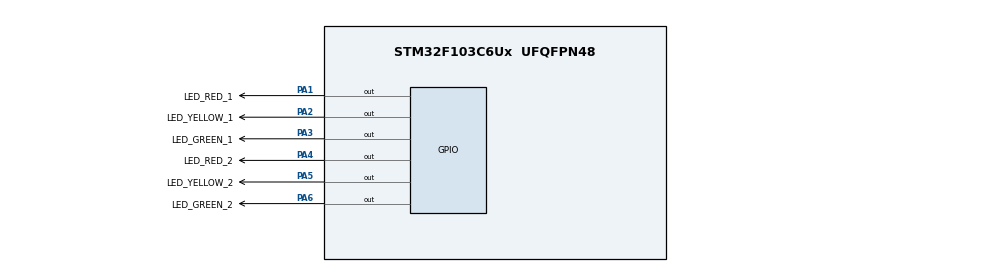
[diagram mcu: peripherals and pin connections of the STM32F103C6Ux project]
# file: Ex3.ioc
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Mcu.Family=STM32F1
Mcu.Name=STM32F103C6Ux
Mcu.Package=UFQFPN48
NVIC.PriorityGroup=NVIC_PRIORITYGROUP_4
PA1.GPIO_Label=LED_RED_1
PA1.Signal=GPIO_Output
PA2.GPIO_Label=LED_YELLOW_1
PA2.Signal=GPIO_Output
PA3.GPIO_Label=LED_GREEN_1
PA3.Signal=GPIO_Output
PA4.GPIO_Label=LED_RED_2
PA4.Signal=GPIO_Output
PA5.GPIO_Label=LED_YELLOW_2
PA5.Signal=GPIO_Output
PA6.GPIO_Label=LED_GREEN_2
PA6.Signal=GPIO_Output
ProjectManager.HeapSize=0x200
ProjectManager.StackSize=0x400
ProjectManager.TargetToolchain=STM32CubeIDE
RCC.APB1Freq_Value=8000000
RCC.APB2Freq_Value=8000000
VP_SYS_VS_ND.Mode=No_Debug
board=custom

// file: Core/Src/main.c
/* USER CODE BEGIN Header */
/**
  ******************************************************************************
  * @file           : main.c
  * @brief          : Main program body
  ******************************************************************************
  * @attention
  *
  * <h2><center>&copy; Copyright (c) 2025 STMicroelectronics.
  * All rights reserved.</center></h2>
  *
  * This software component is licensed by ST under BSD 3-Clause license,
  * the "License"; You may not use this file except in compliance with the
  * License. You may obtain a copy of the License at:
  *                        opensource.org/licenses/BSD-3-Clause
  *
  ******************************************************************************
  */
/* USER CODE END Header */
#include "main.h"

void SystemClock_Config(void);
static void MX_GPIO_Init(void);

int main(void)
{

  /* MCU Configuration--------------------------------------------------------*/

  /* Reset of all peripherals, Initializes the Flash interface and the Systick. */
  HAL_Init();

  /* Configure the system clock */
  SystemClock_Config();

  /* Initialize all configured peripherals */
  MX_GPIO_Init();

  /* Infinite loop */
  /* USER CODE BEGIN WHILE */
  while (1)
  {
	  //State 1: light 1 green -> red, light 2 red -> off
	  HAL_GPIO_WritePin(LED_GREEN_1_GPIO_Port, LED_GREEN_1_Pin, GPIO_PIN_RESET);
	  HAL_GPIO_WritePin(LED_RED_2_GPIO_Port, LED_RED_2_Pin, GPIO_PIN_SET);
	  HAL_GPIO_WritePin(LED_GREEN_2_GPIO_Port, LED_GREEN_2_Pin, GPIO_PIN_SET);
	  HAL_Delay(3000); //straight light turns from green to yellow
	  HAL_GPIO_WritePin(LED_GREEN_1_GPIO_Port, LED_GREEN_1_Pin, GPIO_PIN_SET);
	  HAL_GPIO_WritePin(LED_YELLOW_1_GPIO_Port, LED_YELLOW_1_Pin, GPIO_PIN_SET);
	  HAL_Delay(2000);
	  HAL_GPIO_WritePin(LED_YELLOW_1_GPIO_Port, LED_YELLOW_1_Pin, GPIO_PIN_RESET);
	  HAL_GPIO_WritePin(LED_RED_2_GPIO_Port, LED_RED_2_Pin, GPIO_PIN_RESET);
	  HAL_Delay(1000);

	  //State 2: light 1 red -> off, light 2 green -> red
	  HAL_GPIO_WritePin(LED_GREEN_2_GPIO_Port, LED_GREEN_2_Pin, GPIO_PIN_RESET);
	  HAL_GPIO_WritePin(LED_RED_1_GPIO_Port, LED_RED_1_Pin, GPIO_PIN_SET);
	  HAL_GPIO_WritePin(LED_GREEN_1_GPIO_Port, LED_GREEN_1_Pin, GPIO_PIN_SET);
	  HAL_Delay(3000); //straight light turns from green to yellow
	  HAL_GPIO_WritePin(LED_GREEN_2_GPIO_Port, LED_GREEN_2_Pin, GPIO_PIN_SET);
	  HAL_GPIO_WritePin(LED_YELLOW_2_GPIO_Port, LED_YELLOW_2_Pin, GPIO_PIN_SET);
	  HAL_Delay(2000);
	  HAL_GPIO_WritePin(LED_YELLOW_2_GPIO_Port, LED_YELLOW_2_Pin, GPIO_PIN_RESET);
	  HAL_GPIO_WritePin(LED_RED_1_GPIO_Port, LED_RED_1_Pin, GPIO_PIN_RESET);
	  HAL_Delay(1000);
    /* USER CODE END WHILE */

  }
}

void SystemClock_Config(void)
{
  RCC_OscInitTypeDef RCC_OscInitStruct = {0};
  RCC_ClkInitTypeDef RCC_ClkInitStruct = {0};

  /** Initializes the RCC Oscillators according to the specified parameters
  * in the RCC_OscInitTypeDef structure.
  */
  RCC_OscInitStruct.OscillatorType = RCC_OSCILLATORTYPE_HSI;
  RCC_OscInitStruct.HSIState = RCC_HSI_ON;
  RCC_OscInitStruct.HSICalibrationValue = RCC_HSICALIBRATION_DEFAULT;
  RCC_OscInitStruct.PLL.PLLState = RCC_PLL_NONE;
  if (HAL_RCC_OscConfig(&RCC_OscInitStruct) != HAL_OK)
  {
    Error_Handler();
  }
  /** Initializes the CPU, AHB and APB buses clocks
  */
  RCC_ClkInitStruct.ClockType = RCC_CLOCKTYPE_HCLK|RCC_CLOCKTYPE_SYSCLK
                              |RCC_CLOCKTYPE_PCLK1|RCC_CLOCKTYPE_PCLK2;
  RCC_ClkInitStruct.SYSCLKSource = RCC_SYSCLKSOURCE_HSI;
  RCC_ClkInitStruct.AHBCLKDivider = RCC_SYSCLK_DIV1;
  RCC_ClkInitStruct.APB1CLKDivider = RCC_HCLK_DIV1;
  RCC_ClkInitStruct.APB2CLKDivider = RCC_HCLK_DIV1;

  if (HAL_RCC_ClockConfig(&RCC_ClkInitStruct, FLASH_LATENCY_0) != HAL_OK)
  {
    Error_Handler();
  }
}

static void MX_GPIO_Init(void)
{
  GPIO_InitTypeDef GPIO_InitStruct = {0};

  /* GPIO Ports Clock Enable */
  __HAL_RCC_GPIOA_CLK_ENABLE();

  /*Configure GPIO pin Output Level */
  HAL_GPIO_WritePin(GPIOA, LED_RED_1_Pin|LED_YELLOW_1_Pin|LED_GREEN_1_Pin|LED_RED_2_Pin
                          |LED_YELLOW_2_Pin|LED_GREEN_2_Pin, GPIO_PIN_RESET);

  /*Configure GPIO pins : LED_RED_1_Pin LED_YELLOW_1_Pin LED_GREEN_1_Pin LED_RED_2_Pin
                           LED_YELLOW_2_Pin LED_GREEN_2_Pin */
  GPIO_InitStruct.Pin = LED_RED_1_Pin|LED_YELLOW_1_Pin|LED_GREEN_1_Pin|LED_RED_2_Pin
                          |LED_YELLOW_2_Pin|LED_GREEN_2_Pin;
  GPIO_InitStruct.Mode = GPIO_MODE_OUTPUT_PP;
  GPIO_InitStruct.Pull = GPIO_NOPULL;
  GPIO_InitStruct.Speed = GPIO_SPEED_FREQ_LOW;
  HAL_GPIO_Init(GPIOA, &GPIO_InitStruct);

}

void Error_Handler(void)
{
  __disable_irq();
  while (1)
  {
  }
}

/************************ (C) COPYRIGHT STMicroelectronics *****END OF FILE****/
